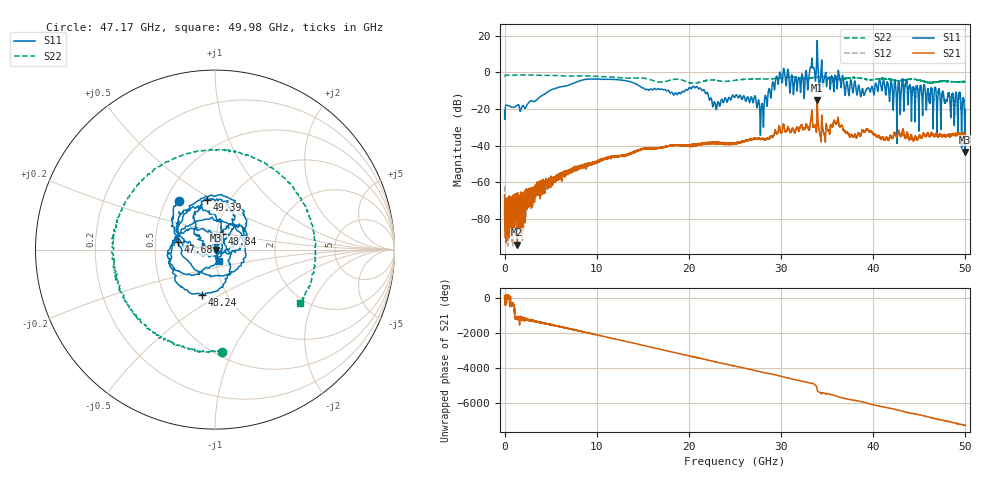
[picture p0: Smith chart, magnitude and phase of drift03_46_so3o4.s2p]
!Created with skrf (http://scikit-rf.org).
# Hz S RI R 50.0
!freq ReS11 ImS11 ReS21 ImS21 ReS12 ImS12 ReS22 ImS22
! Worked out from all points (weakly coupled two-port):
!   10001 points, 300 kHz to 50 GHz, reference 50 ohm
!   highest |S21| = -15.29 dB at 33.92 GHz (marker M1); lowest = -94.1 dB at 1.385 GHz (marker M2)
!   lowest |S11| = -43.4 dB at 49.94 GHz (marker M3), VSWR 1.01, Z = 50.7 - j0.145 ohm
!   |S11| at or under -10 dB: start of sweep to 4.85 GHz; 21.69 GHz to 28.62 GHz (6.934 GHz wide, 27.6 % of centre); 47.2 GHz to end of sweep (the widest 3 of 42)
!   |S22| runs from -5.9 to -1.3 dB; largest |S21 - S12| = 0.018
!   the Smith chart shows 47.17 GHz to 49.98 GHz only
!   S11 on the Smith chart (normalised r, x): 47.17 GHz: 0.59, +0.36; 47.68 GHz: 0.66, +0.06; 48.24 GHz: 0.77, -0.41; 48.84 GHz: 1.06, +0.19; 49.39 GHz: 0.79, +0.47; 49.98 GHz: 1.04, -0.13
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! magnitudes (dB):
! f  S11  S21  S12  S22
! 300 kHz  -21.3  -66.9  -62.1  -2.0
! 265.3 MHz  -17.9  -71.4  -76.5  -1.4
! 1.385 GHz  -17.9  -94.1  -72.9  -1.4
! 8.335 GHz  -4.3  -50.6  -52.1  -1.9
! 16.67 GHz  -8.8  -41.4  -41.3  -5.2
! 22.81 GHz  -16.2  -38.6  -38.5  -4.2
! 25 GHz  -13.4  -38.9  -38.9  -4.3
! 27.92 GHz  -17.1  -36.2  -36.3  -3.5
! 29.69 GHz  -6.4  -32.0  -31.8  -3.1
! 32.32 GHz  -1.5  -30.4  -30.6  -3.3
! 33.34 GHz  7.7  -20.6  -21.0  -2.9
! 33.92 GHz  17.5  -15.3  -15.6  -2.4
! 38.82 GHz  -9.1  -31.5  -31.8  -3.3
! 41.67 GHz  -9.0  -37.1  -36.6  -3.6
! 47.17 GHz  -9.5  -34.4  -34.0  -4.9
! 47.68 GHz  -13.6  -34.2  -34.1  -4.9
! 48.24 GHz  -11.7  -34.6  -34.3  -4.9
! 48.84 GHz  -20.3  -33.5  -33.7  -5.1
! 49.39 GHz  -11.1  -33.4  -33.7  -5.1
! 49.94 GHz  -43.4  -33.9  -34.0  -4.9
! 49.98 GHz  -23.7  -33.7  -34.1  -5.0
! 50 GHz  -20.2  -34.3  -33.7  -5.0
